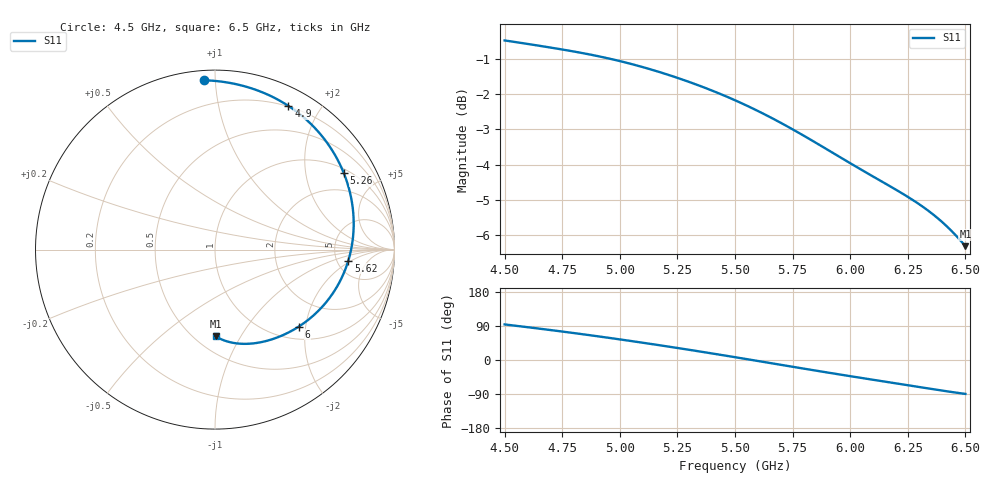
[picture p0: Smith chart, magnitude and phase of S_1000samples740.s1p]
! TOUCHSTONE file generated by CST MICROWAVE STUDIO
! Date and time: Sat Oct 29 05:35:53 2022
! Project name: L.cst
! Parameters = {Di=1.27; Epsilon_r=1.56; InnerDiameter=1.27; Length=2; Lf=10; Lg=60; OuterConductorThickness=0.2921; OuterDiameter=3.6; Wf=3; Wp=41.2; de=1.5; df=6.8; g=0.8; gx=1.71771; gy=4.64084; h=2.34; hf=1.524; px=10.4607; py=13.8748; w=9.7; wx=8.74302; wy=9.23392}
! Header version: 2018
! Port assignment regex: !\s*Touchstone port\s*([0-9]+)\s*=\s*(CST MWS port|CST DS port)\s*([0-9]+|Zmin|Zmax)\s*\(\"(.*)\"\)(\s*mode\s*([0-9]+))?.*
! Touchstone port assignment:
! Touchstone port 1 = CST MWS port 1 ("")
# GHz S DB R 50
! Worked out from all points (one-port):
!   101 points, 4.5 GHz to 6.5 GHz, reference 50 ohm
!   lowest |S11| = -6.3 dB at 6.5 GHz (marker M1), VSWR 2.87, Z = 31.3 - j39.5 ohm
!   |S11| at or under -10 dB: nowhere
!   S11 on the Smith chart (normalised r, x): 4.5 GHz: 0.05, +0.93; 4.9 GHz: 0.19, +1.62; 5.26 GHz: 1.15, +3.25; 5.62 GHz: 6.37, -1.74; 6 GHz: 1.28, -1.83; 6.5 GHz: 0.63, -0.79
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4.5  -0.49 93.9
4.56  -0.55 89.5
4.64  -0.63 83.5
4.76  -0.75 74.3
4.84  -0.85 67.9
4.9  -0.93 62.9
5  -1.07 54.4
5.06  -1.17 49.1
5.14  -1.32 41.9
5.2  -1.44 36.4
5.26  -1.57 30.8
5.32  -1.71 25.1
5.38  -1.85 19.3
5.44  -2.01 13.4
5.5  -2.18 7.4
5.56  -2.36 1.4
5.62  -2.55 -4.7
5.68  -2.75 -10.8
5.76  -3.04 -18.9
5.88  -3.50 -30.9
6  -3.96 -42.6
6.06  -4.19 -48.4
6.14  -4.49 -56.1
6.26  -4.96 -67.5
6.32  -5.22 -73.2
6.38  -5.52 -78.9
6.44  -5.88 -84.4
6.5  -6.31 -89.4
